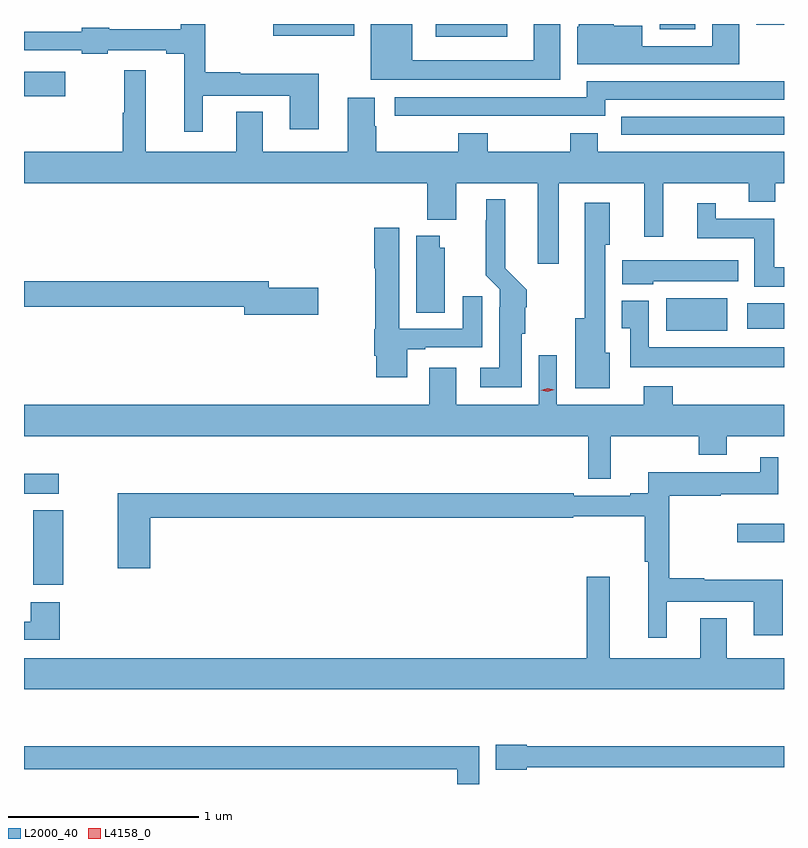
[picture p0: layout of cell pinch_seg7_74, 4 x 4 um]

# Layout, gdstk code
import gdstk
lib = gdstk.Library(unit=1e-6, precision=1e-09)
def R(c, l, rs):  # rectangles x0, y0, x1, y1
    for r in rs: c.add(gdstk.rectangle(r[:2], r[2:], *l))
def P(c, l, *ps):  # polygons
    for p in ps: c.add(gdstk.Polygon(p, *l))
L2000_40 = (2000, 40)
L4158_0 = (4158, 0)

pinch_seg7_74 = lib.new_cell('pinch_seg7_74')
R(pinch_seg7_74, L2000_40, [(993.848,1055.777,994.006,1056.169), (997.554,1056.002,997.799,1056.1), (993.799,1056.257,993.982,1056.361), (997.178,1057.115,997.501,1057.285), (997.605,1057.124,997.799,1057.258), (996.942,1058.145,997.799,1058.241), (993.799,1058.35,994.015,1058.479), (995.966,1058.663,996.343,1058.729), (995.112,1058.666,995.536,1058.729), (997.146,1058.702,997.333,1058.729), (997.652,1058.725,997.799,1058.729)])
P(pinch_seg7_74, L2000_40, [(994.741,1058.351),(995.198,1058.351),(995.198,1058.175),(995.35,1058.175),(995.35,1058.467),(994.937,1058.467),(994.937,1058.475),(994.753,1058.475),(994.753,1058.729),(994.624,1058.729),(994.624,1058.701),(994.247,1058.701),(994.247,1058.708),(994.102,1058.708),(994.102,1058.689),(993.902,1058.689),(993.902,1058.688),(993.799,1058.688),(993.799,1058.592),(994.102,1058.592),(994.102,1058.572),(994.241,1058.572),(994.241,1058.592),(994.547,1058.592),(994.547,1058.572),(994.643,1058.572),(994.643,1058.163),(994.741,1058.163)],
  [(996.622,1058.729),(996.482,1058.729),(996.482,1058.539),(995.842,1058.539),(995.842,1058.729),(995.624,1058.729),(995.624,1058.435),(996.622,1058.435)],
  [(996.95,1058.517),(997.564,1058.517),(997.564,1058.729),(997.421,1058.729),(997.421,1058.613),(997.054,1058.613),(997.054,1058.719),(996.904,1058.719),(996.904,1058.729),(996.719,1058.729),(996.719,1058.715),(996.71,1058.715),(996.71,1058.516),(996.95,1058.516)],
  [(996.613,1057.892),(997.064,1057.892),(997.064,1057.608),(997.163,1057.608),(997.163,1057.892),(997.613,1057.892),(997.613,1057.793),(997.753,1057.793),(997.753,1057.892),(997.799,1057.892),(997.799,1058.056),(996.82,1058.056),(996.82,1058.155),(996.673,1058.155),(996.673,1058.056),(996.24,1058.056),(996.24,1058.155),(996.085,1058.155),(996.085,1058.056),(995.652,1058.056),(995.652,1058.19),(995.644,1058.19),(995.644,1058.341),(995.504,1058.341),(995.504,1058.056),(995.056,1058.056),(995.056,1058.266),(994.916,1058.266),(994.916,1058.056),(994.441,1058.056),(994.441,1058.485),(994.327,1058.485),(994.327,1058.262),(994.32,1058.262),(994.32,1058.056),(993.799,1058.056),(993.799,1057.892),(995.921,1057.892),(995.921,1057.7),(996.073,1057.7),(996.073,1057.892),(996.503,1057.892),(996.503,1057.467),(996.613,1057.467)],
  [(995.996,1058.247),(996.328,1058.247),(996.328,1058.246),(996.584,1058.246),(996.584,1058.247),(996.858,1058.247),(996.858,1058.331),(997.799,1058.331),(997.799,1058.428),(997.66,1058.428),(997.66,1058.427),(996.761,1058.427),(996.761,1058.343),(995.751,1058.343),(995.751,1058.246),(995.996,1058.246)],
  [(996.418,1057.098),(996.436,1057.098),(996.436,1057.238),(996.444,1057.238),(996.444,1057.331),(996.331,1057.444),(996.331,1057.807),(996.233,1057.807),(996.233,1057.697),(996.229,1057.697),(996.229,1057.406),(996.303,1057.332),(996.303,1057.238),(996.299,1057.238),(996.299,1056.919),(996.201,1056.919),(996.201,1056.818),(996.418,1056.818)],
  [(996.883,1056.999),(996.859,1056.999),(996.859,1057.566),(996.883,1057.566),(996.883,1057.789),(996.749,1057.789),(996.749,1057.18),(996.701,1057.18),(996.701,1056.812),(996.883,1056.812)],
  [(997.799,1057.45),(997.747,1057.45),(997.747,1057.705),(997.441,1057.705),(997.441,1057.786),(997.343,1057.786),(997.343,1057.601),(997.643,1057.601),(997.643,1057.346),(997.799,1057.346)],
  [(995.815,1057.017),(995.911,1057.017),(995.911,1057.029),(996.211,1057.029),(996.211,1057.297),(996.107,1057.297),(996.107,1057.125),(995.773,1057.125),(995.773,1057.657),(995.642,1057.657),(995.642,1057.444),(995.647,1057.444),(995.647,1057.122),(995.642,1057.122),(995.642,1056.982),(995.654,1056.982),(995.654,1056.87),(995.815,1056.87)],
  [(996.013,1057.551),(995.986,1057.551),(995.986,1057.615),(995.864,1057.615),(995.864,1057.21),(996.013,1057.21)],
  [(997.11,1057.376),(997.558,1057.376),(997.558,1057.486),(996.948,1057.486),(996.948,1057.358),(997.11,1057.358)],
  [(995.347,1057.34),(995.086,1057.34),(995.086,1057.376),(993.799,1057.376),(993.799,1057.24),(994.958,1057.24),(994.958,1057.198),(995.347,1057.198)],
  [(997.799,1057.027),(997.086,1057.027),(997.086,1057.273),(996.944,1057.273),(996.944,1057.129),(996.989,1057.129),(996.989,1056.923),(997.799,1056.923)],
  [(996.887,1056.56),(997.351,1056.56),(997.351,1056.461),(997.498,1056.461),(997.498,1056.56),(997.799,1056.56),(997.799,1056.724),(997.214,1056.724),(997.214,1056.823),(997.061,1056.823),(997.061,1056.724),(996.603,1056.724),(996.603,1056.985),(996.507,1056.985),(996.507,1056.724),(996.073,1056.724),(996.073,1056.919),(995.933,1056.919),(995.933,1056.724),(993.799,1056.724),(993.799,1056.56),(996.769,1056.56),(996.769,1056.336),(996.887,1056.336)],
  [(997.183,1055.687),(997.64,1055.687),(997.64,1055.511),(997.792,1055.511),(997.792,1055.803),(997.379,1055.803),(997.379,1055.811),(997.195,1055.811),(997.195,1056.247),(997.466,1056.247),(997.466,1056.254),(997.77,1056.254),(997.77,1056.448),(997.673,1056.448),(997.673,1056.37),(997.085,1056.37),(997.085,1056.259),(996.989,1056.259),(996.989,1056.246),(996.692,1056.246),(996.692,1056.259),(994.292,1056.259),(994.292,1055.865),(994.463,1055.865),(994.463,1056.13),(996.689,1056.13),(996.689,1056.138),(997.066,1056.138),(997.066,1055.899),(997.085,1055.899),(997.085,1055.499),(997.183,1055.499)],
  [(997.799,1055.392),(997.498,1055.392),(997.498,1055.602),(997.358,1055.602),(997.358,1055.392),(996.883,1055.392),(996.883,1055.821),(996.762,1055.821),(996.762,1055.392),(993.799,1055.392),(993.799,1055.228),(997.799,1055.228)],
  [(993.986,1055.686),(993.834,1055.686),(993.834,1055.583),(993.799,1055.583),(993.799,1055.487),(993.986,1055.487)],
  [(996.444,1054.818),(997.799,1054.818),(997.799,1054.927),(996.444,1054.927),(996.444,1054.935),(996.282,1054.935),(996.282,1054.805),(996.444,1054.805)],
  [(996.195,1054.927),(993.799,1054.927),(993.799,1054.806),(996.079,1054.806),(996.079,1054.729),(996.195,1054.729)])
P(pinch_seg7_74, L4158_0, [(996.555,1056.793),(996.52,1056.801),(996.52,1056.802),(996.52,1056.802),(996.555,1056.813),(996.59,1056.804),(996.59,1056.804),(996.59,1056.803)])

lib.write_gds('pinch_seg7_74.gds')
